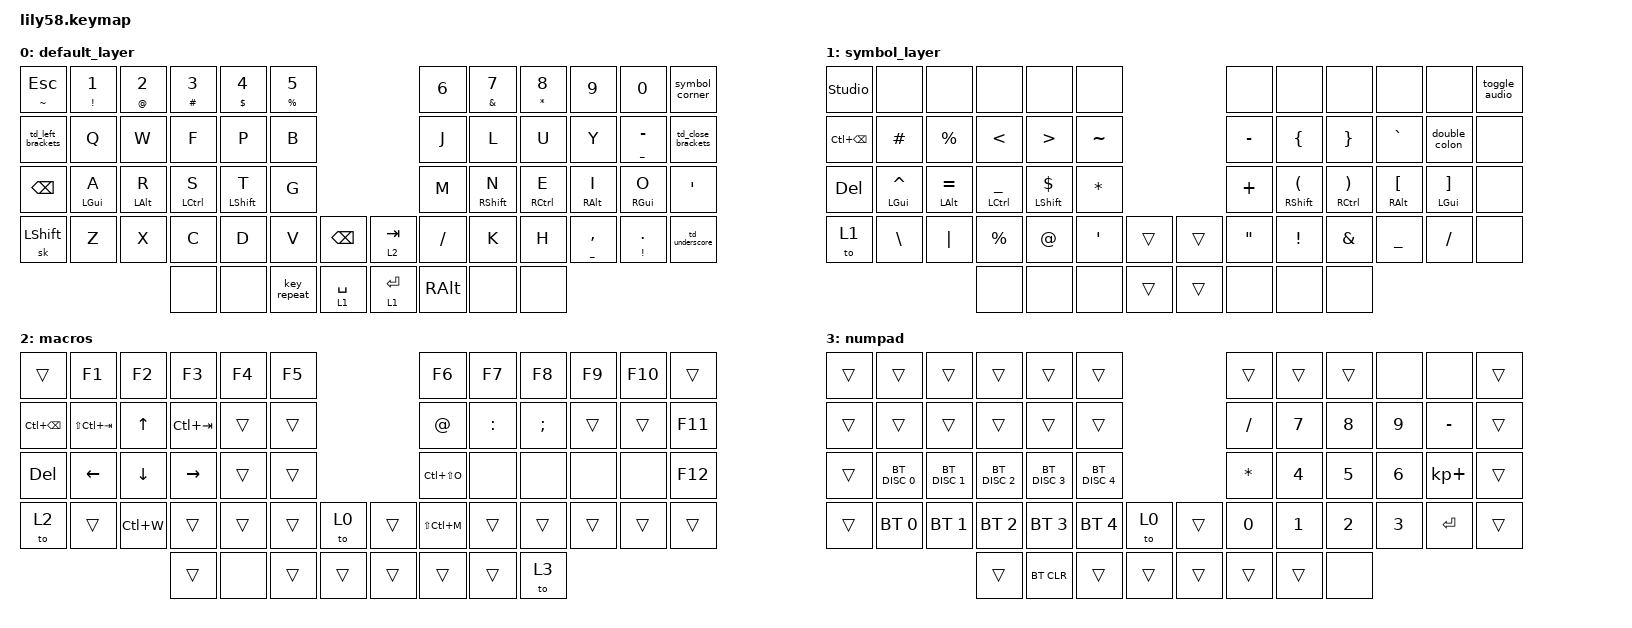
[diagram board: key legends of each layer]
/*
 * Copyright (c) 2020 The ZMK Contributors
 *
 * SPDX-License-Identifier: MIT
 */

#include <behaviors.dtsi>
#include <dt-bindings/zmk/bt.h>
#include <dt-bindings/zmk/keys.h>

&mt {
    flavor = "tap-preferred";
    tapping-term-ms = <270>;
};

/ {
    macros {
        equal_greater_than: equal_greater_than {
            compatible = "zmk,behavior-macro";
            #binding-cells = <0>;
            bindings = <&none &kp EQUAL &kp LT>;
            label = "EQUAL_GREATER_THAN";
        };

        equal_less_than: equal_less_than {
            compatible = "zmk,behavior-macro";
            #binding-cells = <0>;
            bindings = <&none &kp EQUAL &kp GT>;
            label = "EQUAL_LESS_THAN";
        };

        toggle_audio: toggle_audio {
            compatible = "zmk,behavior-macro";
            #binding-cells = <0>;
            bindings = <&kp LEFT_GUI>, <&macro_press>, <&kp F12>;

            label = "TOGGLE_AUDIO";
        };

        double_colon: double_colon {
            compatible = "zmk,behavior-macro";
            #binding-cells = <0>;
            bindings = <&kp COLON &kp COLON>;
            label = "DOUBLE_COLON";
        };

        excel_edit: excel_edit {
            compatible = "zmk,behavior-macro";
            #binding-cells = <0>;
            bindings = <&kp F2 &kp LC(A) &kp LC(V)>;
            label = "EXCEL_EDIT";
        };
    };

    combos {
        compatible = "zmk,combos";

        to_default {
            bindings = <&to 0>;
            key-positions = <0 11>;
        };

        cut {
            bindings = <&kp LC(X)>;
            key-positions = <38 39>;
        };

        copy {
            bindings = <&kp LC(C)>;
            key-positions = <39 40>;
        };

        paste {
            bindings = <&kp LC(V)>;
            key-positions = <40 41>;
        };

        bt {
            bindings = <&to 3>;
            key-positions = <36 49>;
        };

        easy_q {
            bindings = <&kp Q>;
            key-positions = <14 15>;
        };

        easy_colon {
            bindings = <&kp COLON>;
            key-positions = <20 21>;
        };

        easy_minus {
            bindings = <&kp MINUS>;
            key-positions = <16 17>;
        };

        // Press the 3 left thumb keys (dead ALT/GUI + key_repeat positions)
        // together to unlock ZMK Studio. No hold-tap timing involved.
        studio {
            bindings = <&studio_unlock>;
            key-positions = <50 51 52>;
            timeout-ms = <100>;
        };
    };

    behaviors {
        td_left_brackets: td_left_brackets {
            compatible = "zmk,behavior-tap-dance";
            label = "TD_LEFT_BRACKETS";
            #binding-cells = <0>;
            bindings = <&mt LEFT_BRACE LEFT_PARENTHESIS>, <&kp LEFT_BRACKET>;
        };

        td_close_brackets: td_close_brackets {
            compatible = "zmk,behavior-tap-dance";
            label = "TD_CLOSE_BRACKETS";
            #binding-cells = <0>;
            bindings = <&mt RIGHT_BRACE RIGHT_PARENTHESIS>, <&kp RIGHT_BRACKET>;
        };

        td_underscore: td_underscore {
            compatible = "zmk,behavior-tap-dance";
            label = "TD_UNDERSCORE";
            #binding-cells = <0>;
            bindings = <&kp MINUS>, <&kp UNDER>;

            tapping-term-ms = <280>;
        };

        symbol_corner: symbol_corner {
            compatible = "zmk,behavior-tap-dance";
            label = "SYMBOL_CORNER";
            #binding-cells = <0>;
            bindings = <&mt EQUAL DOUBLE_QUOTES>, <&kp HASH>;
        };
    };

    keymap {
        compatible = "zmk,keymap";

        default_layer {
            // ------------------------------------------------------------------------------------------------------------
            // |  ESC  |  1  |  2  |  3   |  4   |  5   |                   |  6   |  7    |  8    |  9   |   0   |   `   |
            // |  TAB  |  Q  |  W  |  E   |  R   |  T   |                   |  Y   |  U    |  I    |  O   |   P   |   -   |
            // |  CTRL |  A  |  S  |  D   |  F   |  G   |                   |  H   |  J    |  K    |  L   |   ;   |   '   |
            // | SHIFT |  Z  |  X  |  C   |  V   |  B   |   "["  |  |  "]"  |  N   |  M    |  ,    |  .   |   /   | SHIFT |
            //                     | ALT  | GUI  | LOWER|  SPACE |  | ENTER | RAISE| BSPC  | GUI   |

            bindings = <
&mt TILDE ESCAPE   &mt EXCL NUMBER_1  &mt AT N2       &mt HASH N3  &mt DOLLAR N4     &mt PERCENT N5                                &kp N6     &mt AMPERSAND N7   &mt STAR N8  &kp N9           &kp N0           &symbol_corner
&td_left_brackets  &kp Q              &kp W           &kp F        &kp P             &kp B                                         &kp J      &kp L              &kp U        &kp Y            &mt UNDER MINUS  &td_close_brackets
&kp BACKSPACE      &mt LEFT_GUI A     &mt LEFT_ALT R  &mt LCTRL S  &mt LEFT_SHIFT T  &kp G                                         &kp M      &mt RIGHT_SHIFT N  &mt RCTRL E  &mt RIGHT_ALT I  &mt RIGHT_GUI O  &kp SQT
&sk LSHFT          &kp Z              &kp X           &kp C        &kp D             &kp V           &kp BACKSPACE    &lt 2 TAB    &kp SLASH  &kp K              &kp H        &mt UNDER COMMA  &mt EXCL DOT     &td_underscore
                                                      &none        &none             &key_repeat     &lt 1 SPACE      &lt 1 ENTER  &kp RALT   &none              &none
            >;
        };

        symbol_layer {
            // ------------------------------------------------------------------------------------------------------------
            // |  STU  | BT1 | BT2 |  BT3 |  BT4 |  BT5 |                   |      |       |       |      |       |       |
            // |  F1   |  F2 |  F3 |  F4  |  F5  |  F6  |                   |  F7  |  F8   |  F9   |  F10 |  F11  |  F12  |
            // |   `   |  !  |  @  |  #   |  $   |  %   |                   |  ^   |  &    |  *    |  (   |   )   |   ~   |
            // |       |     |     |      |      |      |        |  |       |      |  _    |  +    |  {   |   }   |  "|"  |
            //                     |      |      |      |        |  |       |      |       |       |

            bindings = <
&studio_unlock     &none               &none               &none                 &none                  &none                               &none              &none                             &none                        &none                       &none                       &toggle_audio
&kp LC(BACKSPACE)  &kp HASH            &kp PERCENT         &kp LESS_THAN         &kp GREATER_THAN       &kp TILDE                           &kp MINUS          &kp LEFT_BRACE                    &kp RIGHT_BRACE              &kp GRAVE                   &double_colon               &none
&kp DELETE         &mt LEFT_GUI CARET  &mt LEFT_ALT EQUAL  &mt LCTRL UNDERSCORE  &mt LEFT_SHIFT DOLLAR  &kp STAR                            &kp PLUS           &mt RIGHT_SHIFT LEFT_PARENTHESIS  &mt RCTRL RIGHT_PARENTHESIS  &mt RIGHT_ALT LEFT_BRACKET  &mt LEFT_GUI RIGHT_BRACKET  &none
&to 1              &kp BACKSLASH       &kp PIPE            &kp PERCENT           &kp AT                 &kp SINGLE_QUOTE  &trans    &trans  &kp DOUBLE_QUOTES  &kp EXCL                          &kp AMPERSAND                &kp UNDER                   &kp SLASH                   &none
                                                           &none                 &none                  &none             &trans    &trans  &none              &none                             &none
            >;
        };

        macros {
            // ------------------------------------------------------------------------------------------------------------
            // |       |     |     |      |      |      |                   |      |       |       |      |       |       |
            // |   `   |  1  |  2  |  3   |  4   |  5   |                   |  6   |   7   |   8   |  9   |   0   |       |
            // |   F1  |  F2 |  F3 |  F4  |  F5  |  F6  |                   |      |   <-  |   v   |  ^   |  ->   |       |
            // |   F7  |  F8 |  F9 |  F10 |  F11 |  F12 |        |  |       |  +   |   -   |   =   |  [   |   ]   |   \   |
            //                     |      |      |      |        |  |       |      |       |       |

            bindings = <
&trans             &kp F1           &kp F2        &kp F3       &kp F4  &kp F5                    &kp F6         &kp F7     &kp F8    &kp F9  &kp F10  &trans
&kp LC(BACKSPACE)  &kp LS(LC(TAB))  &kp UP_ARROW  &kp LC(TAB)  &trans  &trans                    &kp AT         &kp COLON  &kp SEMI  &trans  &trans   &kp F11
&kp DEL            &kp LEFT         &kp DOWN      &kp RIGHT    &trans  &trans                    &kp LC(LS(O))  &none      &none     &none   &none    &kp F12
&to 2              &trans           &kp LC(W)     &trans       &trans  &trans  &to 0     &trans  &kp LS(LC(M))  &trans     &trans    &trans  &trans   &trans
                                                  &trans       &none   &trans  &trans    &trans  &trans         &trans     &to 3
            >;
        };

        numpad {
            bindings = <
&trans  &trans         &trans         &trans         &trans         &trans                           &trans     &trans  &trans  &none   &none        &trans
&trans  &trans         &trans         &trans         &trans         &trans                           &kp SLASH  &kp N7  &kp N8  &kp N9  &kp MINUS    &trans
&trans  &bt BT_DISC 0  &bt BT_DISC 1  &bt BT_DISC 2  &bt BT_DISC 3  &bt BT_DISC 4                    &kp ASTRK  &kp N4  &kp N5  &kp N6  &kp KP_PLUS  &trans
&trans  &bt BT_SEL 0   &bt BT_SEL 1   &bt BT_SEL 2   &bt BT_SEL 3   &bt BT_SEL 4   &to 0     &trans  &kp N0     &kp N1  &kp N2  &kp N3  &kp ENTER    &trans
                                      &trans         &bt BT_CLR     &trans         &trans    &trans  &trans     &trans  &none
            >;
        };
    };
};
